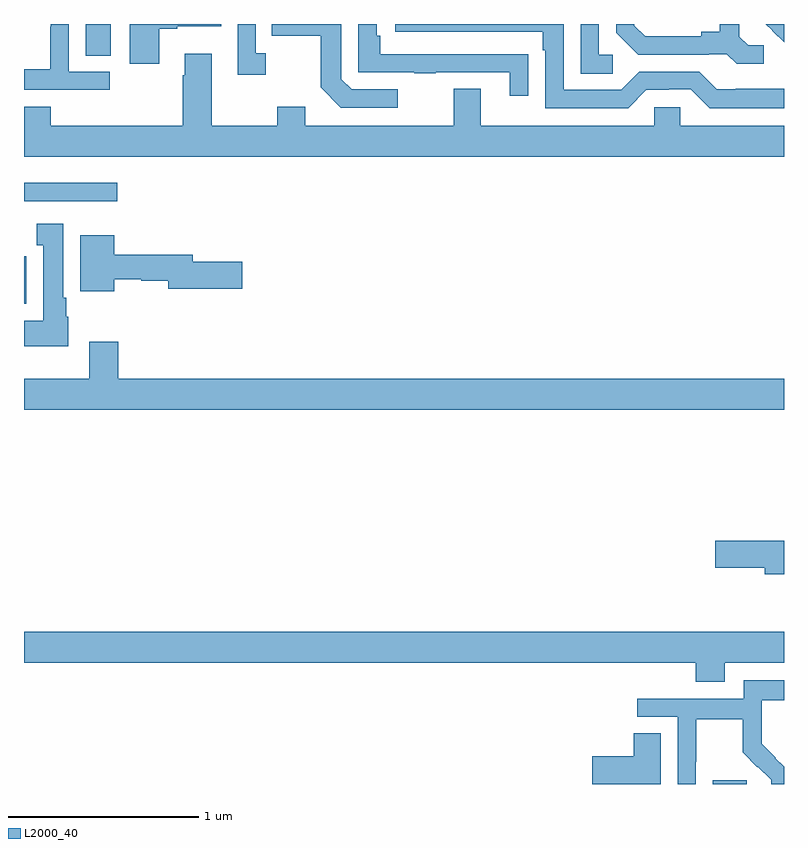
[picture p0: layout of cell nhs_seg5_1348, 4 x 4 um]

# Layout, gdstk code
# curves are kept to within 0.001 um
import gdstk
lib = gdstk.Library(unit=1e-6, precision=1e-09)
def R(c, l, rs):  # rectangles x0, y0, x1, y1
    for r in rs: c.add(gdstk.rectangle(r[:2], r[2:], *l))
def P(c, l, *ps):  # polygons
    for p in ps: c.add(gdstk.Polygon(p, *l))
L2000_40 = (2000, 40)

nhs_seg5_1348 = lib.new_cell('nhs_seg5_1348')
R(nhs_seg5_1348, L2000_40, [(196.625,846.799,196.804,846.819), (193,849.326,193.011,849.577), (193,849.867,193.492,849.964), (193.325,850.633,193.456,850.799)])
P(nhs_seg5_1348, L2000_40, [(196.099,850.638),(196.026,850.638),(196.026,850.799),(195.93,850.799),(195.93,850.537),(196.099,850.537)],
  [(196.894,850.686),(196.812,850.686),(196.765,850.733),(196.765,850.799),(196.661,850.799),(196.661,850.757),(196.565,850.757),(196.565,850.734),(196.27,850.734),(196.213,850.791),(196.213,850.799),(196.116,850.799),(196.116,850.754),(196.232,850.638),(196.604,850.638),(196.604,850.641),(196.698,850.641),(196.75,850.589),(196.894,850.589)],
  [(193.711,850.775),(193.807,850.775),(193.807,850.787),(194.038,850.787),(194.038,850.799),(193.556,850.799),(193.556,850.59),(193.711,850.59)],
  [(195.653,850.64),(195.551,850.64),(195.551,850.641),(194.876,850.641),(194.876,850.738),(194.856,850.738),(194.856,850.799),(194.76,850.799),(194.76,850.545),(195.055,850.545),(195.055,850.54),(195.167,850.54),(195.167,850.545),(195.557,850.545),(195.557,850.422),(195.653,850.422)],
  [(194.272,850.646),(194.22,850.646),(194.22,850.799),(194.124,850.799),(194.124,850.533),(194.272,850.533)],
  [(193.45,850.548),(193.236,850.548),(193.236,850.799),(193.14,850.799),(193.14,850.784),(193.138,850.784),(193.138,850.561),(193,850.561),(193,850.452),(193.45,850.452)],
  [(197,850.459),(196.747,850.459),(196.747,850.455),(196.647,850.455),(196.554,850.548),(196.239,850.548),(196.143,850.452),(195.84,850.452),(195.84,850.799),(194.955,850.799),(194.955,850.758),(195.731,850.758),(195.731,850.661),(195.744,850.661),(195.744,850.356),(196.179,850.356),(196.275,850.452),(196.394,850.452),(196.394,850.455),(196.509,850.455),(196.609,850.355),(197,850.355)],
  [(197,850.799),(196.905,850.799),(196.939,850.765),(196.938,850.764),(197,850.702)],
  [(194.968,850.455),(194.724,850.455),(194.67,850.509),(194.67,850.799),(194.305,850.799),(194.305,850.738),(194.562,850.738),(194.562,850.465),(194.667,850.359),(194.968,850.359)],
  [(197,850.264),(196.455,850.264),(196.455,850.362),(196.317,850.362),(196.317,850.264),(195.403,850.264),(195.403,850.459),(195.263,850.459),(195.263,850.264),(194.479,850.264),(194.479,850.363),(194.332,850.363),(194.332,850.264),(193.987,850.264),(193.987,850.642),(193.847,850.642),(193.847,850.529),(193.835,850.529),(193.835,850.264),(193.142,850.264),(193.142,850.363),(193,850.363),(193,850.1),(197,850.1)],
  [(193.234,849.258),(193.222,849.258),(193.222,849.358),(193.207,849.358),(193.207,849.748),(193.067,849.748),(193.067,849.635),(193.1,849.635),(193.1,849.238),(193,849.238),(193,849.104),(193.234,849.104)],
  [(193.474,849.456),(193.617,849.456),(193.617,849.448),(193.76,849.448),(193.76,849.406),(194.149,849.406),(194.149,849.548),(193.888,849.548),(193.888,849.584),(193.474,849.584),(193.474,849.688),(193.295,849.688),(193.295,849.392),(193.474,849.392)],
  [(193.343,849.127),(193.343,848.932),(193,848.932),(193,848.768),(197,848.768),(197,848.932),(193.496,848.932),(193.496,849.127)],
  [(197,848.078),(196.638,848.078),(196.638,847.936),(196.898,847.936),(196.898,847.902),(197,847.902)],
  [(196.687,847.436),(197,847.436),(197,847.6),(193,847.6),(193,847.436),(196.535,847.436),(196.535,847.337),(196.687,847.337)],
  [(196.536,846.916),(196.539,846.916),(196.539,847.14),(196.783,847.14),(196.783,846.965),(196.86,846.888),(196.863,846.891),(196.934,846.821),(196.934,846.799),(197,846.799),(197,846.89),(196.882,847.01),(196.882,847.107),(196.884,847.107),(196.884,847.241),(197,847.241),(197,847.345),(196.788,847.345),(196.788,847.248),(196.227,847.248),(196.227,847.152),(196.44,847.152),(196.44,846.799),(196.536,846.799)],
  [(196.351,847.067),(196.208,847.067),(196.208,846.944),(195.99,846.944),(195.99,846.799),(196.351,846.799)])

lib.write_gds('nhs_seg5_1348.gds')
